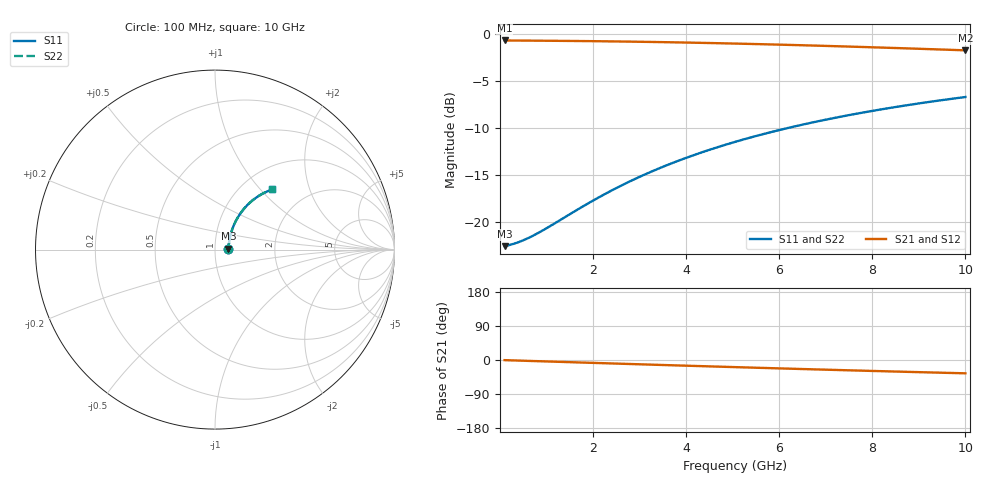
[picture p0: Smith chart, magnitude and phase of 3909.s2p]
# Hz S RI R 50.00
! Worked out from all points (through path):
!   100 points, 100 MHz to 10 GHz, reference 50 ohm
!   highest |S21| = -0.67 dB at 100 MHz (marker M1); lowest = -1.7 dB at 10 GHz (marker M2)
!   group delay of S21, straight-line fit = 9.8 ps
!   lowest |S11| = -22.5 dB at 100 MHz (marker M3), VSWR 1.16, Z = 58 + j0.562 ohm
!   |S11| at or under -10 dB: start of sweep to 6.17 GHz
!   |S22| runs from -22.5 to -6.7 dB; largest |S21 - S12| = 0
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1e8  0.0744 0.00482  0.9256 -0.00617  0.9256 -0.00617  0.0744 0.00482
3e8  0.0755 0.0144  0.9245 -0.0185  0.9245 -0.0185  0.0755 0.0144
4e8  0.076 0.0192  0.924 -0.0246  0.924 -0.0246  0.076 0.0192
5e8  0.0765 0.024  0.9235 -0.0307  0.9235 -0.0307  0.0765 0.024
7e8  0.0776 0.0335  0.9223 -0.043  0.9223 -0.043  0.0776 0.0335
1e9  0.0797 0.0477  0.9202 -0.0613  0.9202 -0.0613  0.0797 0.0477
1.8e9  0.0876 0.085  0.9121 -0.1094  0.9121 -0.1094  0.0876 0.085
2.2e9  0.0929 0.1032  0.9066 -0.1329  0.9066 -0.1329  0.0929 0.1032
2.6e9  0.0991 0.1209  0.9003 -0.1562  0.9003 -0.1562  0.0991 0.1209
3e9  0.1061 0.1383  0.893 -0.1789  0.893 -0.1789  0.1061 0.1383
3.4e9  0.1139 0.1551  0.8849 -0.2012  0.8849 -0.2012  0.1139 0.1551
3.8e9  0.1226 0.1714  0.876 -0.2229  0.876 -0.2229  0.1226 0.1714
4.2e9  0.132 0.1872  0.8663 -0.2441  0.8663 -0.2441  0.132 0.1872
4.6e9  0.142 0.2022  0.8559 -0.2647  0.8559 -0.2647  0.142 0.2022
5.1e9  0.1555 0.2202  0.842 -0.2894  0.842 -0.2894  0.1555 0.2202
5.5e9  0.1669 0.2337  0.8301 -0.3084  0.8301 -0.3084  0.1669 0.2337
5.9e9  0.1789 0.2466  0.8177 -0.3268  0.8177 -0.3268  0.1789 0.2466
6.7e9  0.2042 0.2701  0.7914 -0.3612  0.7914 -0.3612  0.2042 0.2701
7.5e9  0.2309 0.2905  0.7636 -0.3927  0.7636 -0.3927  0.2309 0.2905
8.4e9  0.2622 0.3099  0.7309 -0.4245  0.7309 -0.4245  0.2622 0.3099
9.2e9  0.2907 0.324  0.701 -0.4497  0.701 -0.4497  0.2907 0.324
1e10  0.3195 0.3352  0.6707 -0.4721  0.6707 -0.4721  0.3195 0.3352
